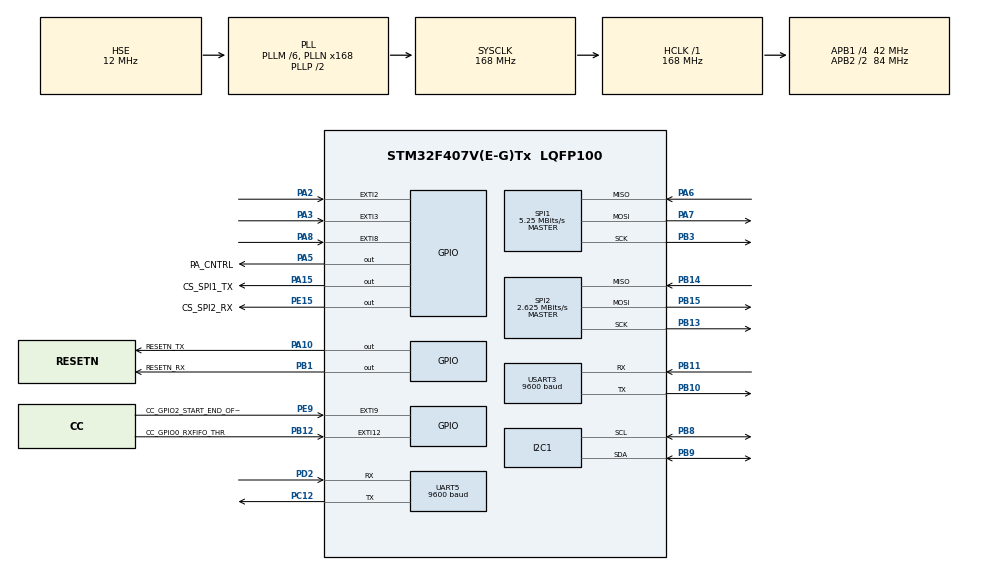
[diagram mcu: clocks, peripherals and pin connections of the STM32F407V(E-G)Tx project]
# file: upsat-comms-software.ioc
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ADC1.Channel-4\#ChannelRegularConversion=ADC_CHANNEL_TEMPSENSOR
ADC1.Channel-5\#ChannelRegularConversion=ADC_CHANNEL_TEMPSENSOR
ADC1.Channel-6\#ChannelRegularConversion=ADC_CHANNEL_TEMPSENSOR
ADC1.Channel-7\#ChannelRegularConversion=ADC_CHANNEL_TEMPSENSOR
ADC1.Channel-8\#ChannelRegularConversion=ADC_CHANNEL_TEMPSENSOR
ADC1.Channel-9\#ChannelRegularConversion=ADC_CHANNEL_TEMPSENSOR
ADC1.ClockPrescaler=ADC_CLOCK_SYNC_PCLK_DIV8
ADC1.ContinuousConvMode=ENABLE
ADC1.DMAContinuousRequests=ENABLE
ADC1.DataAlign=ADC_DATAALIGN_RIGHT
ADC1.DiscontinuousConvMode=DISABLE
ADC1.EOCSelection=ADC_EOC_SEQ_CONV
ADC1.EnableAnalogWatchDog=false
ADC1.ExternalTrigConvEdge=ADC_EXTERNALTRIGCONVEDGE_NONE
ADC1.InjNumberOfConversion=0
ADC1.NbrOfConversion=6
ADC1.NbrOfConversionFlag=1
ADC1.Rank-4\#ChannelRegularConversion=1
ADC1.Rank-5\#ChannelRegularConversion=2
ADC1.Rank-6\#ChannelRegularConversion=3
ADC1.Rank-7\#ChannelRegularConversion=4
ADC1.Rank-8\#ChannelRegularConversion=5
ADC1.Rank-9\#ChannelRegularConversion=6
ADC1.Resolution=ADC_RESOLUTION_12B
ADC1.SamplingTime-4\#ChannelRegularConversion=ADC_SAMPLETIME_480CYCLES
ADC1.SamplingTime-5\#ChannelRegularConversion=ADC_SAMPLETIME_480CYCLES
ADC1.SamplingTime-6\#ChannelRegularConversion=ADC_SAMPLETIME_480CYCLES
ADC1.SamplingTime-7\#ChannelRegularConversion=ADC_SAMPLETIME_480CYCLES
ADC1.SamplingTime-8\#ChannelRegularConversion=ADC_SAMPLETIME_480CYCLES
ADC1.SamplingTime-9\#ChannelRegularConversion=ADC_SAMPLETIME_480CYCLES
ADC1.ScanConvMode=ENABLE
ADC1.master=1
Dma.ADC1.3.Direction=DMA_PERIPH_TO_MEMORY
Dma.ADC1.3.FIFOMode=DMA_FIFOMODE_ENABLE
Dma.ADC1.3.FIFOThreshold=DMA_FIFO_THRESHOLD_FULL
Dma.ADC1.3.Instance=DMA2_Stream0
Dma.ADC1.3.MemBurst=DMA_MBURST_INC4
Dma.ADC1.3.MemDataAlignment=DMA_MDATAALIGN_WORD
Dma.ADC1.3.MemInc=DMA_MINC_ENABLE
Dma.ADC1.3.Mode=DMA_NORMAL
Dma.ADC1.3.PeriphBurst=DMA_PBURST_SINGLE
Dma.ADC1.3.PeriphDataAlignment=DMA_PDATAALIGN_WORD
Dma.ADC1.3.PeriphInc=DMA_PINC_DISABLE
Dma.ADC1.3.Priority=DMA_PRIORITY_LOW
Dma.Request0=UART5_TX
Dma.Request1=SPI2_RX
Dma.Request2=SPI1_TX
Dma.Request3=ADC1
Dma.SPI1_TX.2.Direction=DMA_MEMORY_TO_PERIPH
Dma.SPI1_TX.2.FIFOMode=DMA_FIFOMODE_DISABLE
Dma.SPI1_TX.2.Instance=DMA2_Stream3
Dma.SPI1_TX.2.MemDataAlignment=DMA_MDATAALIGN_BYTE
Dma.SPI1_TX.2.MemInc=DMA_MINC_ENABLE
Dma.SPI1_TX.2.Mode=DMA_NORMAL
Dma.SPI1_TX.2.PeriphDataAlignment=DMA_PDATAALIGN_BYTE
Dma.SPI1_TX.2.PeriphInc=DMA_PINC_DISABLE
Dma.SPI1_TX.2.Priority=DMA_PRIORITY_LOW
Dma.SPI2_RX.1.Direction=DMA_PERIPH_TO_MEMORY
Dma.SPI2_RX.1.FIFOMode=DMA_FIFOMODE_DISABLE
Dma.SPI2_RX.1.Instance=DMA1_Stream3
Dma.SPI2_RX.1.MemDataAlignment=DMA_MDATAALIGN_BYTE
Dma.SPI2_RX.1.MemInc=DMA_MINC_ENABLE
Dma.SPI2_RX.1.Mode=DMA_NORMAL
Dma.SPI2_RX.1.PeriphDataAlignment=DMA_PDATAALIGN_BYTE
Dma.SPI2_RX.1.PeriphInc=DMA_PINC_DISABLE
Dma.SPI2_RX.1.Priority=DMA_PRIORITY_LOW
Dma.UART5_TX.0.Direction=DMA_MEMORY_TO_PERIPH
Dma.UART5_TX.0.FIFOMode=DMA_FIFOMODE_DISABLE
Dma.UART5_TX.0.Instance=DMA1_Stream7
Dma.UART5_TX.0.MemDataAlignment=DMA_MDATAALIGN_BYTE
Dma.UART5_TX.0.MemInc=DMA_MINC_ENABLE
Dma.UART5_TX.0.Mode=DMA_NORMAL
Dma.UART5_TX.0.PeriphDataAlignment=DMA_PDATAALIGN_BYTE
Dma.UART5_TX.0.PeriphInc=DMA_PINC_DISABLE
Dma.UART5_TX.0.Priority=DMA_PRIORITY_LOW
IWDG.Prescaler=IWDG_PRESCALER_256
Mcu.Family=STM32F4
Mcu.Name=STM32F407V(E-G)Tx
Mcu.Package=LQFP100
NVIC.ADC_IRQn=true\:0\:0\:false\:false\:true
NVIC.DMA1_Stream3_IRQn=true\:0\:0\:false\:false\:true
NVIC.DMA1_Stream7_IRQn=true\:0\:0\:false\:false\:true
NVIC.DMA2_Stream0_IRQn=true\:0\:0\:false\:false\:true
NVIC.DMA2_Stream3_IRQn=true\:0\:0\:false\:false\:true
NVIC.EXTI15_10_IRQn=true\:0\:0\:false\:false\:true
NVIC.EXTI2_IRQn=true\:0\:0\:false\:false\:true
NVIC.EXTI3_IRQn=true\:0\:0\:false\:false\:true
NVIC.EXTI9_5_IRQn=true\:0\:0\:false\:false\:true
NVIC.PriorityGroup=NVIC_PRIORITYGROUP_4
NVIC.UART5_IRQn=true\:0\:0\:false\:false\:true
PA10.GPIO_Label=RESETN_TX
PA10.PinState=GPIO_PIN_SET
PA10.Signal=GPIO_Output
PA15.GPIO_Label=CS_SPI1_TX
PA15.PinState=GPIO_PIN_SET
PA15.Signal=GPIO_Output
PA2.GPIO_ModeDefaultEXTI=GPIO_MODE_IT_FALLING
PA2.Signal=GPXTI2
PA3.GPIO_ModeDefaultEXTI=GPIO_MODE_IT_FALLING
PA3.Signal=GPXTI3
PA5.GPIO_Label=PA_CNTRL
PA5.Signal=GPIO_Output
PA6.GPIO_Speed=GPIO_SPEED_FREQ_LOW
PA6.Mode=Full_Duplex_Master
PA6.Signal=SPI1_MISO
PA7.GPIO_Speed=GPIO_SPEED_FREQ_LOW
PA7.Mode=Full_Duplex_Master
PA7.Signal=SPI1_MOSI
PA8.Signal=GPXTI8
PB1.GPIO_Label=RESETN_RX
PB1.PinState=GPIO_PIN_SET
PB1.Signal=GPIO_Output
PB10.Mode=Asynchronous
PB10.Signal=USART3_TX
PB11.Mode=Asynchronous
PB11.Signal=USART3_RX
PB12.GPIO_Label=CC_GPIO0_RXFIFO_THR
PB12.GPIO_ModeDefaultEXTI=GPIO_MODE_IT_RISING
PB12.Signal=GPXTI12
PB13.GPIO_Speed=GPIO_SPEED_FREQ_LOW
PB13.Mode=Full_Duplex_Master
PB13.Signal=SPI2_SCK
PB14.GPIO_Speed=GPIO_SPEED_FREQ_LOW
PB14.Mode=Full_Duplex_Master
PB14.Signal=SPI2_MISO
PB15.GPIO_Speed=GPIO_SPEED_FREQ_LOW
PB15.Mode=Full_Duplex_Master
PB15.Signal=SPI2_MOSI
PB3.GPIO_Speed=GPIO_SPEED_FREQ_LOW
PB3.Mode=Full_Duplex_Master
PB3.Signal=SPI1_SCK
PB8.Mode=I2C
PB8.Signal=I2C1_SCL
PB9.Mode=I2C
PB9.Signal=I2C1_SDA
PC12.Mode=Asynchronous
PC12.Signal=UART5_TX
PD2.Mode=Asynchronous
PD2.Signal=UART5_RX
PE15.GPIO_Label=CS_SPI2_RX
PE15.PinState=GPIO_PIN_SET
PE15.Signal=GPIO_Output
PE9.GPIO_Label=CC_GPIO2_START_END_OF_PACKET
PE9.GPIO_ModeDefaultEXTI=GPIO_MODE_IT_RISING_FALLING
PE9.Signal=GPXTI9
PH0-OSC_IN.Mode=HSE-External-Oscillator
PH0-OSC_IN.Signal=RCC_OSC_IN
PH1-OSC_OUT.Mode=HSE-External-Oscillator
PH1-OSC_OUT.Signal=RCC_OSC_OUT
ProjectManager.HeapSize=0x200
ProjectManager.StackSize=0x400
ProjectManager.TargetToolchain=EWARM
RCC.48MHZClocksFreq_Value=84000000
RCC.AHBFreq_Value=168000000
RCC.APB1CLKDivider=RCC_HCLK_DIV4
RCC.APB1Freq_Value=42000000
RCC.APB1TimFreq_Value=84000000
RCC.APB2CLKDivider=RCC_HCLK_DIV2
RCC.APB2Freq_Value=84000000
RCC.APB2TimFreq_Value=168000000
RCC.CortexFreq_Value=168000000
RCC.HCLKFreq_Value=168000000
RCC.HSE_VALUE=12000000
RCC.HSI_VALUE=16000000
RCC.LSE_VALUE=32768
RCC.PLLM=6
RCC.PLLN=168
RCC.PLLSourceVirtual=RCC_PLLSOURCE_HSE
RCC.SYSCLKFreq_VALUE=168000000
RCC.SYSCLKSource=RCC_SYSCLKSOURCE_PLLCLK
RCC.VCOOutputFreq_Value=336000000
SPI1.BaudRatePrescaler=SPI_BAUDRATEPRESCALER_16
SPI1.CalculateBaudRate=5.25 MBits/s
SPI1.Mode=SPI_MODE_MASTER
SPI2.BaudRatePrescaler=SPI_BAUDRATEPRESCALER_16
SPI2.CalculateBaudRate=2.625 MBits/s
SPI2.Mode=SPI_MODE_MASTER
UART5.BaudRate=9600
USART3.BaudRate=9600
VP_ADC1_TempSens_Input.Mode=IN-TempSens
VP_ADC1_Vref_Input.Mode=IN-Vrefint
VP_IWDG_VS_IWDG.Mode=IWDG_Activate
board=upsat-comms-software

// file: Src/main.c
/**
  ******************************************************************************
  * File Name          : main.c
  * Description        : Main program body
  ******************************************************************************
  *
  * COPYRIGHT(c) 2016 STMicroelectronics
  *
  * Redistribution and use in source and binary forms, with or without modification,
  * are permitted provided that the following conditions are met:
  *   1. Redistributions of source code must retain the above copyright notice,
  *      this list of conditions and the following disclaimer.
  *   2. Redistributions in binary form must reproduce the above copyright notice,
  *      this list of conditions and the following disclaimer in the documentation
  *      and/or other materials provided with the distribution.
  *   3. Neither the name of STMicroelectronics nor the names of its contributors
  *      may be used to endorse or promote products derived from this software
  *      without specific prior written permission.
  *
  * THIS SOFTWARE IS PROVIDED BY THE COPYRIGHT HOLDERS AND CONTRIBUTORS "AS IS"
  * AND ANY EXPRESS OR IMPLIED WARRANTIES, INCLUDING, BUT NOT LIMITED TO, THE
  * IMPLIED WARRANTIES OF MERCHANTABILITY AND FITNESS FOR A PARTICULAR PURPOSE ARE
  * DISCLAIMED. IN NO EVENT SHALL THE COPYRIGHT HOLDER OR CONTRIBUTORS BE LIABLE
  * FOR ANY DIRECT, INDIRECT, INCIDENTAL, SPECIAL, EXEMPLARY, OR CONSEQUENTIAL
  * DAMAGES (INCLUDING, BUT NOT LIMITED TO, PROCUREMENT OF SUBSTITUTE GOODS OR
  * SERVICES; LOSS OF USE, DATA, OR PROFITS; OR BUSINESS INTERRUPTION) HOWEVER
  * CAUSED AND ON ANY THEORY OF LIABILITY, WHETHER IN CONTRACT, STRICT LIABILITY,
  * OR TORT (INCLUDING NEGLIGENCE OR OTHERWISE) ARISING IN ANY WAY OUT OF THE USE
  * OF THIS SOFTWARE, EVEN IF ADVISED OF THE POSSIBILITY OF SUCH DAMAGE.
  *
  ******************************************************************************
  */
#include "stm32f4xx_hal.h"

/* USER CODE BEGIN Includes */
#include "cc_commands.h"
#include "cc_definitions.h"
#include "ax25.h"
#include "log.h"
#include "cc112x_spi.h"
#include "cc_tx_init.h"
#include "cc_rx_init.h"
#include <string.h>
#include "comms.h"
#include "pkt_pool.h"
#include "service_utilities.h"
#include "comms_manager.h"
#include "sensors.h"
#include "stats.h"
#include "sysview.h"
/* USER CODE END Includes */

ADC_HandleTypeDef hadc1;
DMA_HandleTypeDef hdma_adc1;

I2C_HandleTypeDef hi2c1;

IWDG_HandleTypeDef hiwdg;

SPI_HandleTypeDef hspi1;
SPI_HandleTypeDef hspi2;
DMA_HandleTypeDef hdma_spi1_tx;
DMA_HandleTypeDef hdma_spi2_rx;

UART_HandleTypeDef huart5;
UART_HandleTypeDef huart3;
DMA_HandleTypeDef hdma_uart5_tx;

/* USER CODE BEGIN PV */
/* Private variables ---------------------------------------------------------*/
uint8_t res;
uint16_t size = 0;

volatile uint8_t tx_thr_flag = 0;
volatile uint8_t tx_fin_flag = 0;
volatile uint8_t rx_sync_flag = 0;
volatile uint8_t rx_finished_flag = 0;
volatile uint8_t rx_thr_flag = 0;

uint8_t uart_temp[512];
uint8_t debug_temp[256];

/* USER CODE END PV */

void SystemClock_Config(void);
void Error_Handler(void);
static void MX_GPIO_Init(void);
static void MX_DMA_Init(void);
static void MX_I2C1_Init(void);
static void MX_SPI1_Init(void);
static void MX_SPI2_Init(void);
static void MX_UART5_Init(void);
static void MX_USART3_UART_Init(void);
static void MX_IWDG_Init(void);
static void MX_ADC1_Init(void);

/* USER CODE BEGIN PFP */
/* Private function prototypes -----------------------------------------------*/

/* USER CODE END PFP */

/* USER CODE BEGIN 0 */
static inline void
debug_ecss ()
{
  debug_temp[0] = 8;
  debug_temp[1] = 1;
  debug_temp[2] = 192;
  debug_temp[4] = 0;
  debug_temp[5] = 0;
  debug_temp[6] = 5;
  debug_temp[7] = 16;
  debug_temp[8] = 17;
  debug_temp[9] = 2;
  debug_temp[10] = 7;
  debug_temp[11] = 0;
  debug_temp[12] = 200;
  send_payload (debug_temp, 13, COMMS_DEFAULT_TIMEOUT_MS);
}
/* USER CODE END 0 */

int main(void)
{

  /* USER CODE BEGIN 1 */
  int32_t ret = 0;
  uint8_t rst_src;
  uint32_t cw_tick;
  uint32_t dbg_tick;
  uint32_t now;
  uint8_t send_cw = 0;
  /* USER CODE END 1 */

  /* MCU Configuration----------------------------------------------------------*/

  /* Reset of all peripherals, Initializes the Flash interface and the Systick. */
  HAL_Init();

  /* Configure the system clock */
  SystemClock_Config();

  /* Initialize all configured peripherals */
  MX_GPIO_Init();
  MX_DMA_Init();
  MX_I2C1_Init();
  MX_SPI1_Init();
  MX_SPI2_Init();
  MX_UART5_Init();
  MX_USART3_UART_Init();
  MX_IWDG_Init();
  MX_ADC1_Init();

  /* USER CODE BEGIN 2 */

  SEGGER_SYSVIEW_Conf();
  sysview_init();

  /* TX Pins RESETN_TX, PA_CTRL_PIN, CSN1 */
  HAL_GPIO_WritePin (GPIOA, RESETN_TX_Pin, GPIO_PIN_SET);
  HAL_GPIO_WritePin (PA_CNTRL_GPIO_Port, PA_CNTRL_Pin, GPIO_PIN_SET);
  HAL_GPIO_WritePin (GPIOA, GPIO_PIN_15, GPIO_PIN_SET);

  /* RX Pins RESETN_RX, CSN2 */
  HAL_GPIO_WritePin (GPIOB, GPIO_PIN_1, GPIO_PIN_SET);
  HAL_GPIO_WritePin (GPIOE, GPIO_PIN_15, GPIO_PIN_SET);

  /*Must use this in order the compiler occupies flash sector 3*/
  flash_INIT();
  uint32_t add_read = flash_read_trasmit();

  HAL_Delay (4000);

  comms_init();
  LOG_UART_DBG(&huart5, "RF systems initialized and calibrated %d", add_read);

  /* UART initializations */
  HAL_UART_Receive_IT (&huart5, comms_data.obc_uart.uart_buf, UART_BUF_SIZE);

  /* Sent to OBC the reason of re-booting */
  HAL_reset_source(&rst_src);
  event_boot(rst_src, 0);

  /* USER CODE END 2 */

  /* Infinite loop */
  /* USER CODE BEGIN WHILE */

  cw_tick = HAL_GetTick();
  dbg_tick = cw_tick;
  while (1) {
    now = HAL_GetTick();
    if(now - cw_tick > __CW_INTERVAL_MS){
      cw_tick = now;
      /* Should be reset from comms_routine_dispatcher() when served */
      send_cw = 1;
    }
    if(now - dbg_tick > 10000){
      dbg_tick = now;
      debug_ecss();
    }
    comms_routine_dispatcher(&send_cw);

  /* USER CODE END WHILE */

  }

}

/** System Clock Configuration
*/
void SystemClock_Config(void)
{

  RCC_OscInitTypeDef RCC_OscInitStruct;
  RCC_ClkInitTypeDef RCC_ClkInitStruct;

  __HAL_RCC_PWR_CLK_ENABLE();

  __HAL_PWR_VOLTAGESCALING_CONFIG(PWR_REGULATOR_VOLTAGE_SCALE1);

  RCC_OscInitStruct.OscillatorType = RCC_OSCILLATORTYPE_LSI|RCC_OSCILLATORTYPE_HSE;
  RCC_OscInitStruct.HSEState = RCC_HSE_ON;
  RCC_OscInitStruct.LSIState = RCC_LSI_ON;
  RCC_OscInitStruct.PLL.PLLState = RCC_PLL_ON;
  RCC_OscInitStruct.PLL.PLLSource = RCC_PLLSOURCE_HSE;
  RCC_OscInitStruct.PLL.PLLM = 6;
  RCC_OscInitStruct.PLL.PLLN = 168;
  RCC_OscInitStruct.PLL.PLLP = RCC_PLLP_DIV2;
  RCC_OscInitStruct.PLL.PLLQ = 4;
  if (HAL_RCC_OscConfig(&RCC_OscInitStruct) != HAL_OK)
  {
    Error_Handler();
  }

  RCC_ClkInitStruct.ClockType = RCC_CLOCKTYPE_HCLK|RCC_CLOCKTYPE_SYSCLK
                              |RCC_CLOCKTYPE_PCLK1|RCC_CLOCKTYPE_PCLK2;
  RCC_ClkInitStruct.SYSCLKSource = RCC_SYSCLKSOURCE_PLLCLK;
  RCC_ClkInitStruct.AHBCLKDivider = RCC_SYSCLK_DIV1;
  RCC_ClkInitStruct.APB1CLKDivider = RCC_HCLK_DIV4;
  RCC_ClkInitStruct.APB2CLKDivider = RCC_HCLK_DIV2;
  if (HAL_RCC_ClockConfig(&RCC_ClkInitStruct, FLASH_LATENCY_5) != HAL_OK)
  {
    Error_Handler();
  }

  HAL_SYSTICK_Config(HAL_RCC_GetHCLKFreq()/1000);

  HAL_SYSTICK_CLKSourceConfig(SYSTICK_CLKSOURCE_HCLK);

  /* SysTick_IRQn interrupt configuration */
  HAL_NVIC_SetPriority(SysTick_IRQn, 0, 0);
}

/* ADC1 init function */
static void MX_ADC1_Init(void)
{

  ADC_ChannelConfTypeDef sConfig;

    /**Configure the global features of the ADC (Clock, Resolution, Data Alignment and number of conversion)
    */
  hadc1.Instance = ADC1;
  hadc1.Init.ClockPrescaler = ADC_CLOCK_SYNC_PCLK_DIV8;
  hadc1.Init.Resolution = ADC_RESOLUTION_12B;
  hadc1.Init.ScanConvMode = ENABLE;
  hadc1.Init.ContinuousConvMode = ENABLE;
  hadc1.Init.DiscontinuousConvMode = DISABLE;
  hadc1.Init.ExternalTrigConvEdge = ADC_EXTERNALTRIGCONVEDGE_NONE;
  hadc1.Init.DataAlign = ADC_DATAALIGN_RIGHT;
  hadc1.Init.NbrOfConversion = 6;
  hadc1.Init.DMAContinuousRequests = ENABLE;
  hadc1.Init.EOCSelection = ADC_EOC_SEQ_CONV;
  if (HAL_ADC_Init(&hadc1) != HAL_OK)
  {
    Error_Handler();
  }

    /**Configure for the selected ADC regular channel its corresponding rank in the sequencer and its sample time.
    */
  sConfig.Channel = ADC_CHANNEL_TEMPSENSOR;
  sConfig.Rank = 1;
  sConfig.SamplingTime = ADC_SAMPLETIME_480CYCLES;
  if (HAL_ADC_ConfigChannel(&hadc1, &sConfig) != HAL_OK)
  {
    Error_Handler();
  }

    /**Configure for the selected ADC regular channel its corresponding rank in the sequencer and its sample time.
    */
  sConfig.Rank = 2;
  if (HAL_ADC_ConfigChannel(&hadc1, &sConfig) != HAL_OK)
  {
    Error_Handler();
  }

    /**Configure for the selected ADC regular channel its corresponding rank in the sequencer and its sample time.
    */
  sConfig.Rank = 3;
  if (HAL_ADC_ConfigChannel(&hadc1, &sConfig) != HAL_OK)
  {
    Error_Handler();
  }

    /**Configure for the selected ADC regular channel its corresponding rank in the sequencer and its sample time.
    */
  sConfig.Rank = 4;
  if (HAL_ADC_ConfigChannel(&hadc1, &sConfig) != HAL_OK)
  {
    Error_Handler();
  }

    /**Configure for the selected ADC regular channel its corresponding rank in the sequencer and its sample time.
    */
  sConfig.Rank = 5;
  if (HAL_ADC_ConfigChannel(&hadc1, &sConfig) != HAL_OK)
  {
    Error_Handler();
  }

    /**Configure for the selected ADC regular channel its corresponding rank in the sequencer and its sample time.
    */
  sConfig.Rank = 6;
  if (HAL_ADC_ConfigChannel(&hadc1, &sConfig) != HAL_OK)
  {
    Error_Handler();
  }

}

/* I2C1 init function */
static void MX_I2C1_Init(void)
{

  hi2c1.Instance = I2C1;
  hi2c1.Init.ClockSpeed = 100000;
  hi2c1.Init.DutyCycle = I2C_DUTYCYCLE_2;
  hi2c1.Init.OwnAddress1 = 0;
  hi2c1.Init.AddressingMode = I2C_ADDRESSINGMODE_7BIT;
  hi2c1.Init.DualAddressMode = I2C_DUALADDRESS_DISABLE;
  hi2c1.Init.OwnAddress2 = 0;
  hi2c1.Init.GeneralCallMode = I2C_GENERALCALL_DISABLE;
  hi2c1.Init.NoStretchMode = I2C_NOSTRETCH_DISABLE;
  if (HAL_I2C_Init(&hi2c1) != HAL_OK)
  {
    Error_Handler();
  }

}

/* IWDG init function */
static void MX_IWDG_Init(void)
{

  hiwdg.Instance = IWDG;
  hiwdg.Init.Prescaler = IWDG_PRESCALER_256;
  hiwdg.Init.Reload = 4095;
  if (HAL_IWDG_Init(&hiwdg) != HAL_OK)
  {
    Error_Handler();
  }

}

/* SPI1 init function */
static void MX_SPI1_Init(void)
{

  hspi1.Instance = SPI1;
  hspi1.Init.Mode = SPI_MODE_MASTER;
  hspi1.Init.Direction = SPI_DIRECTION_2LINES;
  hspi1.Init.DataSize = SPI_DATASIZE_8BIT;
  hspi1.Init.CLKPolarity = SPI_POLARITY_LOW;
  hspi1.Init.CLKPhase = SPI_PHASE_1EDGE;
  hspi1.Init.NSS = SPI_NSS_SOFT;
  hspi1.Init.BaudRatePrescaler = SPI_BAUDRATEPRESCALER_16;
  hspi1.Init.FirstBit = SPI_FIRSTBIT_MSB;
  hspi1.Init.TIMode = SPI_TIMODE_DISABLE;
  hspi1.Init.CRCCalculation = SPI_CRCCALCULATION_DISABLE;
  hspi1.Init.CRCPolynomial = 10;
  if (HAL_SPI_Init(&hspi1) != HAL_OK)
  {
    Error_Handler();
  }

}

/* SPI2 init function */
static void MX_SPI2_Init(void)
{

  hspi2.Instance = SPI2;
  hspi2.Init.Mode = SPI_MODE_MASTER;
  hspi2.Init.Direction = SPI_DIRECTION_2LINES;
  hspi2.Init.DataSize = SPI_DATASIZE_8BIT;
  hspi2.Init.CLKPolarity = SPI_POLARITY_LOW;
  hspi2.Init.CLKPhase = SPI_PHASE_1EDGE;
  hspi2.Init.NSS = SPI_NSS_SOFT;
  hspi2.Init.BaudRatePrescaler = SPI_BAUDRATEPRESCALER_16;
  hspi2.Init.FirstBit = SPI_FIRSTBIT_MSB;
  hspi2.Init.TIMode = SPI_TIMODE_DISABLE;
  hspi2.Init.CRCCalculation = SPI_CRCCALCULATION_DISABLE;
  hspi2.Init.CRCPolynomial = 10;
  if (HAL_SPI_Init(&hspi2) != HAL_OK)
  {
    Error_Handler();
  }

}

/* UART5 init function */
static void MX_UART5_Init(void)
{

  huart5.Instance = UART5;
  huart5.Init.BaudRate = 9600;
  huart5.Init.WordLength = UART_WORDLENGTH_8B;
  huart5.Init.StopBits = UART_STOPBITS_1;
  huart5.Init.Parity = UART_PARITY_NONE;
  huart5.Init.Mode = UART_MODE_TX_RX;
  huart5.Init.HwFlowCtl = UART_HWCONTROL_NONE;
  huart5.Init.OverSampling = UART_OVERSAMPLING_16;
  if (HAL_UART_Init(&huart5) != HAL_OK)
  {
    Error_Handler();
  }

}

/* USART3 init function */
static void MX_USART3_UART_Init(void)
{

  huart3.Instance = USART3;
  huart3.Init.BaudRate = 9600;
  huart3.Init.WordLength = UART_WORDLENGTH_8B;
  huart3.Init.StopBits = UART_STOPBITS_1;
  huart3.Init.Parity = UART_PARITY_NONE;
  huart3.Init.Mode = UART_MODE_TX_RX;
  huart3.Init.HwFlowCtl = UART_HWCONTROL_NONE;
  huart3.Init.OverSampling = UART_OVERSAMPLING_16;
  if (HAL_UART_Init(&huart3) != HAL_OK)
  {
    Error_Handler();
  }

}

static void MX_DMA_Init(void)
{
  /* DMA controller clock enable */
  __HAL_RCC_DMA1_CLK_ENABLE();
  __HAL_RCC_DMA2_CLK_ENABLE();

  /* DMA interrupt init */
  /* DMA1_Stream3_IRQn interrupt configuration */
  HAL_NVIC_SetPriority(DMA1_Stream3_IRQn, 0, 0);
  HAL_NVIC_EnableIRQ(DMA1_Stream3_IRQn);
  /* DMA1_Stream7_IRQn interrupt configuration */
  HAL_NVIC_SetPriority(DMA1_Stream7_IRQn, 0, 0);
  HAL_NVIC_EnableIRQ(DMA1_Stream7_IRQn);
  /* DMA2_Stream0_IRQn interrupt configuration */
  HAL_NVIC_SetPriority(DMA2_Stream0_IRQn, 0, 0);
  HAL_NVIC_EnableIRQ(DMA2_Stream0_IRQn);
  /* DMA2_Stream3_IRQn interrupt configuration */
  HAL_NVIC_SetPriority(DMA2_Stream3_IRQn, 0, 0);
  HAL_NVIC_EnableIRQ(DMA2_Stream3_IRQn);

}

/** Configure pins as
        * Analog
        * Input
        * Output
        * EVENT_OUT
        * EXTI
*/
static void MX_GPIO_Init(void)
{

  GPIO_InitTypeDef GPIO_InitStruct;

  /* GPIO Ports Clock Enable */
  __HAL_RCC_GPIOH_CLK_ENABLE();
  __HAL_RCC_GPIOA_CLK_ENABLE();
  __HAL_RCC_GPIOB_CLK_ENABLE();
  __HAL_RCC_GPIOE_CLK_ENABLE();
  __HAL_RCC_GPIOC_CLK_ENABLE();
  __HAL_RCC_GPIOD_CLK_ENABLE();

  /*Configure GPIO pins : PA2 PA3 */
  GPIO_InitStruct.Pin = GPIO_PIN_2|GPIO_PIN_3;
  GPIO_InitStruct.Mode = GPIO_MODE_IT_FALLING;
  GPIO_InitStruct.Pull = GPIO_NOPULL;
  HAL_GPIO_Init(GPIOA, &GPIO_InitStruct);

  /*Configure GPIO pins : PA_CNTRL_Pin RESETN_TX_Pin CS_SPI1_TX_Pin */
  GPIO_InitStruct.Pin = PA_CNTRL_Pin|RESETN_TX_Pin|CS_SPI1_TX_Pin;
  GPIO_InitStruct.Mode = GPIO_MODE_OUTPUT_PP;
  GPIO_InitStruct.Pull = GPIO_NOPULL;
  GPIO_InitStruct.Speed = GPIO_SPEED_FREQ_LOW;
  HAL_GPIO_Init(GPIOA, &GPIO_InitStruct);

  /*Configure GPIO pin : RESETN_RX_Pin */
  GPIO_InitStruct.Pin = RESETN_RX_Pin;
  GPIO_InitStruct.Mode = GPIO_MODE_OUTPUT_PP;
  GPIO_InitStruct.Pull = GPIO_NOPULL;
  GPIO_InitStruct.Speed = GPIO_SPEED_FREQ_LOW;
  HAL_GPIO_Init(RESETN_RX_GPIO_Port, &GPIO_InitStruct);

  /*Configure GPIO pin : CC_GPIO2_START_END_OF_PACKET_Pin */
  GPIO_InitStruct.Pin = CC_GPIO2_START_END_OF_PACKET_Pin;
  GPIO_InitStruct.Mode = GPIO_MODE_IT_RISING_FALLING;
  GPIO_InitStruct.Pull = GPIO_NOPULL;
  HAL_GPIO_Init(CC_GPIO2_START_END_OF_PACKET_GPIO_Port, &GPIO_InitStruct);

  /*Configure GPIO pin : CS_SPI2_RX_Pin */
  GPIO_InitStruct.Pin = CS_SPI2_RX_Pin;
  GPIO_InitStruct.Mode = GPIO_MODE_OUTPUT_PP;
  GPIO_InitStruct.Pull = GPIO_NOPULL;
  GPIO_InitStruct.Speed = GPIO_SPEED_FREQ_LOW;
  HAL_GPIO_Init(CS_SPI2_RX_GPIO_Port, &GPIO_InitStruct);

  /*Configure GPIO pin : CC_GPIO0_RXFIFO_THR_Pin */
  GPIO_InitStruct.Pin = CC_GPIO0_RXFIFO_THR_Pin;
  GPIO_InitStruct.Mode = GPIO_MODE_IT_RISING;
  GPIO_InitStruct.Pull = GPIO_NOPULL;
  HAL_GPIO_Init(CC_GPIO0_RXFIFO_THR_GPIO_Port, &GPIO_InitStruct);

  /*Configure GPIO pin : PA8 */
  GPIO_InitStruct.Pin = GPIO_PIN_8;
  GPIO_InitStruct.Mode = GPIO_MODE_IT_RISING;
  GPIO_InitStruct.Pull = GPIO_NOPULL;
  HAL_GPIO_Init(GPIOA, &GPIO_InitStruct);

  /*Configure GPIO pin Output Level */
  HAL_GPIO_WritePin(PA_CNTRL_GPIO_Port, PA_CNTRL_Pin, GPIO_PIN_RESET);

  /*Configure GPIO pin Output Level */
  HAL_GPIO_WritePin(RESETN_RX_GPIO_Port, RESETN_RX_Pin, GPIO_PIN_SET);

  /*Configure GPIO pin Output Level */
  HAL_GPIO_WritePin(CS_SPI2_RX_GPIO_Port, CS_SPI2_RX_Pin, GPIO_PIN_SET);

  /*Configure GPIO pin Output Level */
  HAL_GPIO_WritePin(GPIOA, RESETN_TX_Pin|CS_SPI1_TX_Pin, GPIO_PIN_SET);

  /* EXTI interrupt init*/
  HAL_NVIC_SetPriority(EXTI2_IRQn, 0, 0);
  HAL_NVIC_EnableIRQ(EXTI2_IRQn);

  HAL_NVIC_SetPriority(EXTI3_IRQn, 0, 0);
  HAL_NVIC_EnableIRQ(EXTI3_IRQn);

  HAL_NVIC_SetPriority(EXTI9_5_IRQn, 0, 0);
  HAL_NVIC_EnableIRQ(EXTI9_5_IRQn);

  HAL_NVIC_SetPriority(EXTI15_10_IRQn, 0, 0);
  HAL_NVIC_EnableIRQ(EXTI15_10_IRQn);

}

/* USER CODE BEGIN 4 */
void
HAL_GPIO_EXTI_Callback (uint16_t GPIO_Pin)
{
  GPIO_PinState state;
  switch(GPIO_Pin){
    case GPIO_PIN_3:
      tx_thr_flag = 1;
      break;
    case GPIO_PIN_2:
      tx_fin_flag = 1;
      break;
    case CC_GPIO2_START_END_OF_PACKET_Pin:
      state = HAL_GPIO_ReadPin (CC_GPIO2_START_END_OF_PACKET_GPIO_Port,
				CC_GPIO2_START_END_OF_PACKET_Pin);
      if(state){
	rx_sync_flag = 1;
      }
      else {
	rx_finished_flag = 1;
      }
      break;
    case CC_GPIO0_RXFIFO_THR_Pin:
      rx_thr_flag = 1;
      break;
  }
}
/* USER CODE END 4 */

void Error_Handler(void)
{
  while(1)
  {
  }
}

/************************ (C) COPYRIGHT STMicroelectronics *****END OF FILE****/
